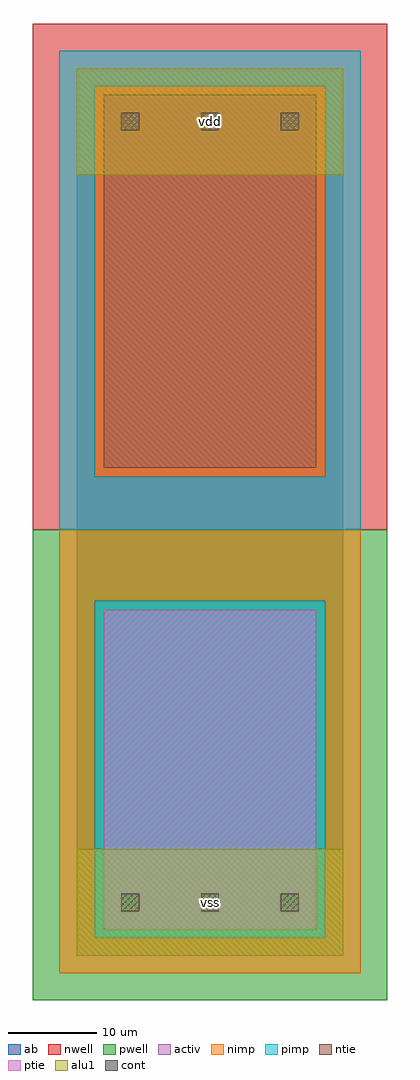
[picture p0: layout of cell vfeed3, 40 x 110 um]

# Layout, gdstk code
import gdstk
lib = gdstk.Library(unit=1e-6, precision=1e-09)
def R(c, l, rs):  # rectangles x0, y0, x1, y1
    for r in rs: c.add(gdstk.rectangle(r[:2], r[2:], *l))
def A(c, l, x, y, w, h, nx, ny, dx, dy):  # array of equal rectangles
    R(c, l, [(x+i*dx, y+j*dy, x+i*dx+w, y+j*dy+h) for i in range(nx) for j in range(ny)])
ntie = (5, 0)
ptie = (6, 0)
cont = (25, 0)
pwell = (41, 0)
nwell = (42, 0)
activ = (43, 0)
pimp = (44, 0)
nimp = (45, 0)
alu1 = (49, 0)
ab = (63, 0)

vfeed3 = lib.new_cell('vfeed3')
R(vfeed3, ntie, [(3,55,27,97)])
R(vfeed3, ptie, [(3,3,27,39)])
A(vfeed3, cont, 5, 5, 2, 2, 3, 2, 9, 88)
R(vfeed3, pwell, [(-5,-5,35,48)])
R(vfeed3, nwell, [(-5,48,35,105)])
R(vfeed3, activ, [(3,3,27,39), (3,55,27,97)])
R(vfeed3, pimp, [(2,2,28,40), (-2,48,32,54), (-2,54,2,98), (28,54,32,98), (-2,98,32,102)])
R(vfeed3, nimp, [(-2,-2,32,2), (-2,2,2,40), (28,2,32,40), (-2,40,32,48), (2,54,28,98)])
R(vfeed3, alu1, [(0,0,30,12), (0,88,30,100)])
R(vfeed3, ab, [(0,0,30,100)])
vfeed3.add(gdstk.Label('vss', (15,6), layer=49, texttype=0))
vfeed3.add(gdstk.Label('vdd', (15,94), layer=49, texttype=0))

lib.write_gds('vfeed3.gds')
